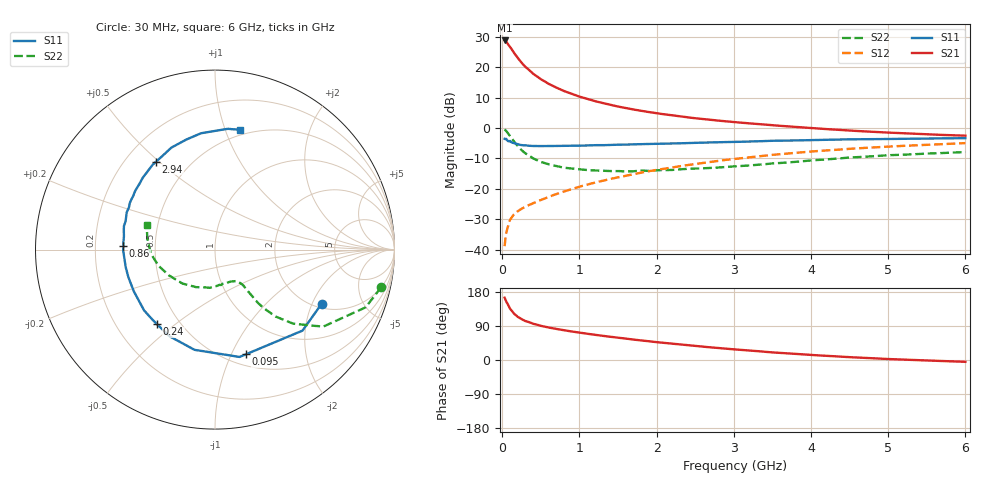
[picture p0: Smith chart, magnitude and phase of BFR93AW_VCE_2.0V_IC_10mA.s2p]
! Infineon Technologies  Discrete & RF Semiconductors
! BFR93AW
! VCE =  2.0 V,  IC =  10 mA
! Common Emitter S-Parameters:  Nov 2015
# GHz  S  MA  R  50
!  f  S11  S21  S12  S22
! GHz  MAG  ANG  MAG  ANG  MAG  ANG  MAG  ANG
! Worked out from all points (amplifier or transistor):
!   206 points, 30 MHz to 6 GHz, reference 50 ohm
!   highest |S21| = 28.8 dB at 30 MHz (marker M1)
!   |S21| within 3 dB of that: start of sweep to 124.2 MHz
!   unconditionally stable (mu >= 1): 724.1 MHz to 2.417 GHz
!   at 200 MHz: K = 0.50, MSG = 25.2 dB, |S12| = -27.3 dB
!   at 1.56 GHz: K = 1.07, MAG = 9.7 dB, |S12| = -15.8 dB
!   at 6 GHz: K = 0.94, MSG = 1.2 dB, |S12| = -4.9 dB
!   S11 on the Smith chart (normalised r, x): 30 MHz: 2.18, -2.36; 95 MHz: 0.61, -1.14; 240 MHz: 0.38, -0.43; 860 MHz: 0.32, +0.02; 2.94 GHz: 0.33, +0.49; 6 GHz: 0.45, +1.12
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0.03  0.6666 -26.8  27.41 164.5  0.0115 74.8  0.9491 -12.8
0.05  0.6645 -42.8  26.33 154.3  0.0187 71.4  0.8986 -21.0
0.095  0.6083 -73.6  21.99 137.4  0.0298 60.0  0.7532 -33.8
0.1  0.6136 -77.1  21.65 135.2  0.0311 59.2  0.7399 -35.5
0.15  0.5699 -101.6  17.26 122.3  0.0381 52.8  0.6007 -43.4
0.2  0.5453 -117.7  14.13 113.8  0.0431 51.3  0.5036 -47.8
0.24  0.5267 -127.8  12.24 109.0  0.0465 50.2  0.4463 -49.5
0.26  0.5228 -132.2  11.44 106.7  0.0481 50.3  0.4225 -50.2
0.3  0.5205 -139.4  10.1 102.7  0.0511 51.4  0.3841 -51.1
0.4  0.5085 -152.8  7.775 95.6  0.0583 53.1  0.3173 -51.5
0.5  0.5066 -162.3  6.33 90.1  0.0659 55.5  0.2771 -51.7
0.6  0.5071 -169.0  5.325 85.7  0.0742 57.5  0.2536 -51.7
0.7  0.5077 -174.8  4.613 81.9  0.0823 59.1  0.2374 -52.6
0.86  0.5116 177.8  3.795 76.6  0.0959 61.1  0.2192 -54.8
1.04  0.5148 170.6  3.168 71.0  0.1125 62.6  0.2073 -58.2
1.5  0.5339 157.1  2.252 58.7  0.1553 63.4  0.1971 -70.5
2.02  0.5522 143.5  1.733 46.7  0.2075 61.6  0.2029 -87.2
2.94  0.5894 123.8  1.273 29.2  0.3041 54.9  0.2313 -115.2
3.1  0.5952 120.7  1.223 26.6  0.3203 53.3  0.2382 -120.6
4.1  0.6368 102.9  0.98 12.1  0.4203 42.8  0.2995 -153.7
5.1  0.6638 88.8  0.831 1.9  0.5033 31.3  0.3612 -179.1
6  0.6816 78.3  0.75 -4.8  0.5658 21.5  0.4039 160.5
